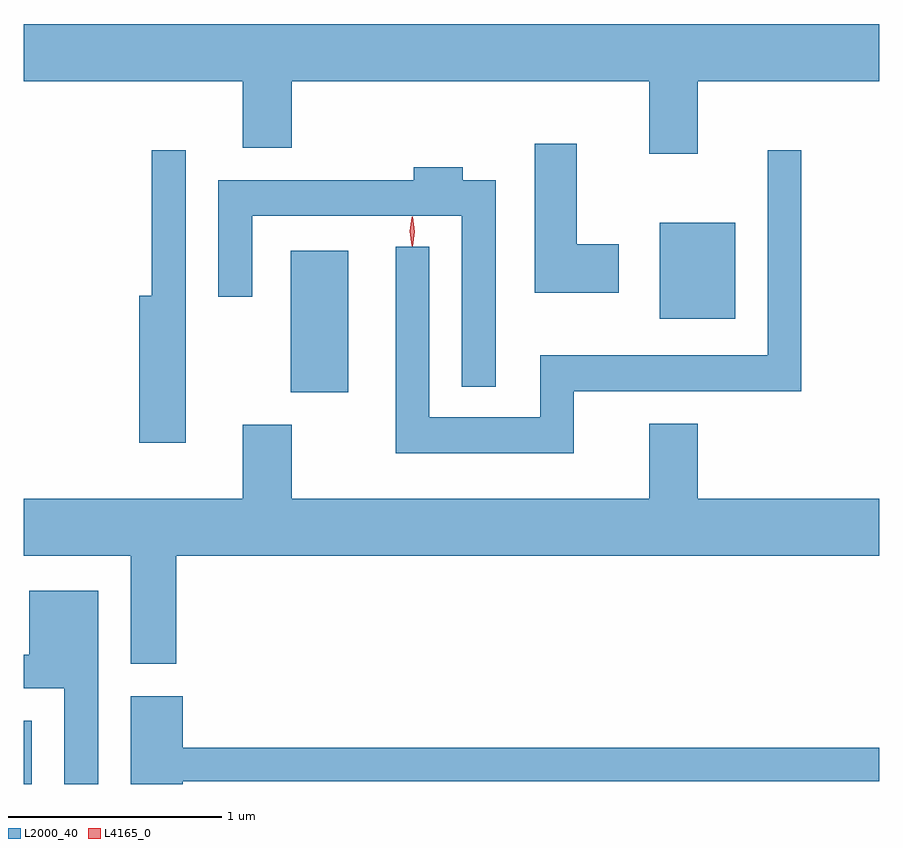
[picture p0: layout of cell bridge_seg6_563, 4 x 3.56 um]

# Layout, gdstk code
import gdstk
lib = gdstk.Library(unit=1e-6, precision=1e-09)
def R(c, l, rs):  # rectangles x0, y0, x1, y1
    for r in rs: c.add(gdstk.rectangle(r[:2], r[2:], *l))
def P(c, l, *ps):  # polygons
    for p in ps: c.add(gdstk.Polygon(p, *l))
L2000_40 = (2000, 40)
L4165_0 = (4165, 0)

bridge_seg6_563 = lib.new_cell('bridge_seg6_563')
R(bridge_seg6_563, L2000_40, [(416.777,1624.449,416.814,1624.744), (418.026,1626.281,418.294,1626.944), (419.751,1626.626,420.104,1627.074)])
P(bridge_seg6_563, L2000_40, [(419.929,1627.736),(420.777,1627.736),(420.777,1628.004),(416.777,1628.004),(416.777,1627.736),(417.801,1627.736),(417.801,1627.426),(418.029,1627.426),(418.029,1627.736),(419.701,1627.736),(419.701,1627.396),(419.929,1627.396)],
  [(419.559,1626.974),(419.364,1626.974),(419.364,1627.444),(419.166,1627.444),(419.166,1626.746),(419.559,1626.746)],
  [(419.349,1626.286),(420.414,1626.286),(420.414,1627.413),(420.256,1627.413),(420.256,1626.454),(419.191,1626.454),(419.191,1626.164),(418.674,1626.164),(418.674,1626.963),(418.516,1626.963),(418.516,1625.996),(419.349,1625.996)],
  [(417.534,1627.413),(417.376,1627.413),(417.376,1626.734),(417.316,1626.734),(417.316,1626.046),(417.534,1626.046)],
  [(418.984,1627.274),(418.829,1627.274),(418.829,1627.334),(418.601,1627.334),(418.601,1627.274),(417.686,1627.274),(417.686,1626.728),(417.844,1626.728),(417.844,1627.106),(418.826,1627.106),(418.826,1626.308),(418.984,1626.308)],
  [(417.489,1625.516),(420.777,1625.516),(420.777,1625.784),(419.929,1625.784),(419.929,1626.134),(419.701,1626.134),(419.701,1625.784),(418.029,1625.784),(418.029,1626.129),(417.801,1626.129),(417.801,1625.784),(416.777,1625.784),(416.777,1625.516),(417.276,1625.516),(417.276,1625.011),(417.489,1625.011)],
  [(417.124,1625.354),(416.801,1625.354),(416.801,1625.054),(416.777,1625.054),(416.777,1624.896),(416.966,1624.896),(416.966,1624.449),(417.124,1624.449)],
  [(417.519,1624.461),(420.777,1624.461),(420.777,1624.619),(417.519,1624.619),(417.519,1624.859),(417.276,1624.859),(417.276,1624.449),(417.519,1624.449)])
P(bridge_seg6_563, L4165_0, [(418.594,1626.964),(418.585,1627.033),(418.594,1627.102),(418.595,1627.103),(418.595,1627.102),(418.605,1627.033),(418.595,1626.964),(418.595,1626.964)],
  [(418.591,1626.967),(418.582,1627.034),(418.591,1627.1),(418.592,1627.1),(418.592,1627.1),(418.602,1627.034),(418.592,1626.967),(418.592,1626.967)])

lib.write_gds('bridge_seg6_563.gds')
